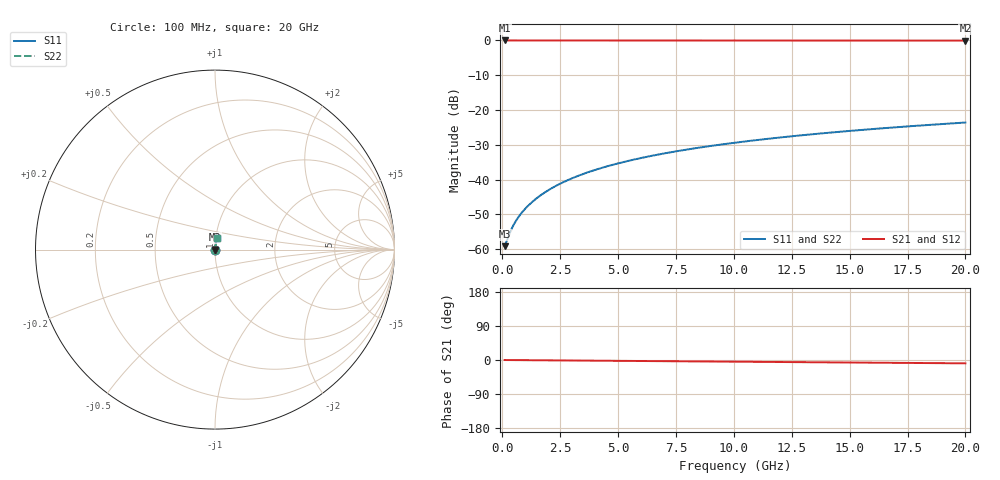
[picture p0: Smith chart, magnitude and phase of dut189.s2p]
! Touchstone file exported from HFSS 2026.1.0
!  File:  C:/ffzhzh/LocalFiles/Ansys_Project_Files/temp_train_BSMRDL_189_1782987425_42984.aedt
!  Generated:  06:19:33 PM Jul  2, 2026
!  Design:  BSMRDL
!  Project:  temp_train_BSMRDL_189_1782987425_42984
! Variables:
!  h_bsmrdl = 2.25um
!  h_ox = 20um
!  h_rdl = 5um
!  h_sub = 80um
!  h_tmrdl = 5um
!  h_tsv = 80um
!  h_via = 3um
!  l_bsmrdl = 109.29um
!  l_sub = 509.29um
!  l_tmrdl = 200um
!  m_sub = 200um
!  pitch = 43.26um
!  r_tsv = 6um
!  s_tmrdl = 10um
!  w_bsmrdl = 29.85um
!  w_sub = 500um
!  w_tmrdl = 12um
!  x_tsv_center1 = 206um
!  x_tsv_center2 = 345.14um
!  x_tsv_center3 = 557.14um
!  x_tsv_center4 = 696.28um
!  x_tsv_center5 = 908.28um
!  x_tsv_center6 = 1047.42um
# GHz S MA R 50.000000
! Terminal data exported
! Port[1] = BSM_RDL1_1_T1
! Port[2] = BSM_RDL1_1_T2
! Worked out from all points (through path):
!   200 points, 100 MHz to 20 GHz, reference 50 ohm
!   highest |S21| = -0.01 dB at 100 MHz (marker M1); lowest = 0.0 dB at 20 GHz (marker M2)
!   group delay of S21, straight-line fit = 1.22 ps
!   lowest |S11| = -59.1 dB at 100 MHz (marker M3), VSWR 1.00, Z = 50.1 + j0.0418 ohm
!   |S11| at or under -10 dB: start of sweep to end of sweep
!   |S22| runs from -59.1 to -23.6 dB; largest |S21 - S12| = 2.2e-15
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0.1  0.001109 22.1  0.999 -0.0  0.999 -0.0  0.001109 22.1
! Gamma 0 0 0 0
! Port Impedance 50 0 50 0
0.3  0.001643 47.3  0.9989 -0.1  0.9989 -0.1  0.001643 47.3
0.4  0.00196 53.4  0.9988 -0.2  0.9988 -0.2  0.00196 53.4
0.5  0.002279 57.7  0.9988 -0.2  0.9988 -0.2  0.002279 57.7
0.6  0.002597 60.9  0.9987 -0.3  0.9987 -0.3  0.002597 60.9
0.7  0.002912 63.4  0.9987 -0.3  0.9987 -0.3  0.002912 63.4
0.9  0.003543 67.3  0.9987 -0.4  0.9987 -0.4  0.003543 67.3
1.2  0.004496 71.4  0.9986 -0.5  0.9986 -0.5  0.004496 71.4
1.4  0.005139 73.4  0.9986 -0.6  0.9986 -0.6  0.005139 73.4
1.7  0.006115 75.6  0.9985 -0.8  0.9985 -0.8  0.006115 75.6
2.2  0.007763 78.0  0.9985 -1.0  0.9985 -1.0  0.007763 78.0
2.8  0.009762 79.8  0.9984 -1.3  0.9984 -1.3  0.009762 79.8
3.5  0.01211 81.0  0.9984 -1.6  0.9984 -1.6  0.01211 81.0
4.2  0.01446 81.7  0.9983 -1.9  0.9983 -1.9  0.01446 81.7
5  0.01715 82.2  0.9982 -2.2  0.9982 -2.2  0.01715 82.2
5.9  0.02017 82.4  0.9981 -2.6  0.9981 -2.6  0.02017 82.4
6.8  0.02319 82.5  0.9979 -3.0  0.9979 -3.0  0.02319 82.5
8.3  0.02819 82.3  0.9976 -3.7  0.9976 -3.7  0.02819 82.3
10.1  0.03415 81.9  0.9973 -4.5  0.9973 -4.5  0.03415 81.9
13.4  0.04497 80.8  0.9965 -5.9  0.9965 -5.9  0.04497 80.8
16.7  0.05565 79.6  0.9955 -7.4  0.9955 -7.4  0.05565 79.6
20  0.06618 78.4  0.9945 -8.8  0.9945 -8.8  0.06618 78.4
